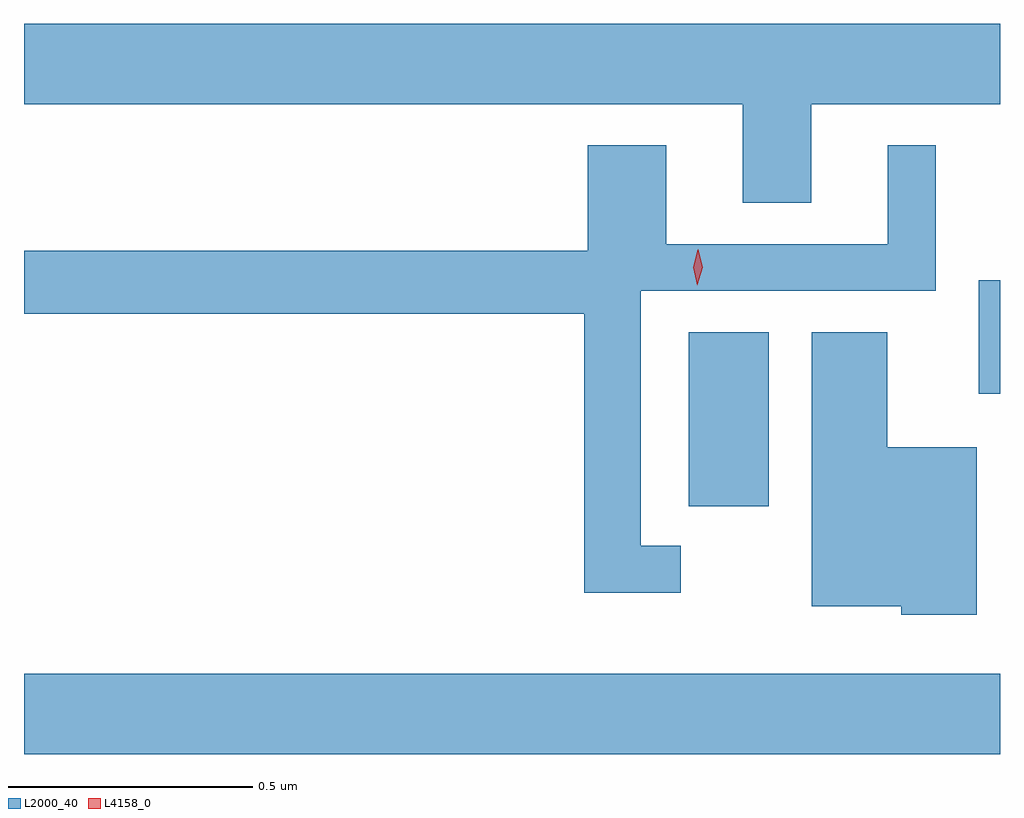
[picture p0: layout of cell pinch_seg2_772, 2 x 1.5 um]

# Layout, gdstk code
import gdstk
lib = gdstk.Library(unit=1e-6, precision=1e-09)
def R(c, l, rs):  # rectangles x0, y0, x1, y1
    for r in rs: c.add(gdstk.rectangle(r[:2], r[2:], *l))
def P(c, l, *ps):  # polygons
    for p in ps: c.add(gdstk.Polygon(p, *l))
L2000_40 = (2000, 40)
L4158_0 = (4158, 0)

pinch_seg2_772 = lib.new_cell('pinch_seg2_772')
R(pinch_seg2_772, L2000_40, [(861.05,628.988,863.05,629.152), (862.412,629.496,862.576,629.852), (863.006,629.726,863.05,629.959)])
P(pinch_seg2_772, L2000_40, [(862.663,630.32),(863.05,630.32),(863.05,630.484),(861.05,630.484),(861.05,630.32),(862.523,630.32),(862.523,630.118),(862.663,630.118)],
  [(862.396,629.415),(862.314,629.415),(862.314,629.937),(862.918,629.937),(862.918,630.235),(862.82,630.235),(862.82,630.033),(862.366,630.033),(862.366,630.235),(862.205,630.235),(862.205,630.019),(861.05,630.019),(861.05,629.89),(862.198,629.89),(862.198,629.318),(862.396,629.318)],
  [(863.002,629.617),(862.819,629.617),(862.819,629.852),(862.664,629.852),(862.664,629.291),(862.848,629.291),(862.848,629.273),(863.002,629.273)])
P(pinch_seg2_772, L4158_0, [(862.43,629.949),(862.43,629.949),(862.421,629.986),(862.431,630.021),(862.432,630.022),(862.432,630.021),(862.441,629.985),(862.43,629.949)])

lib.write_gds('pinch_seg2_772.gds')
